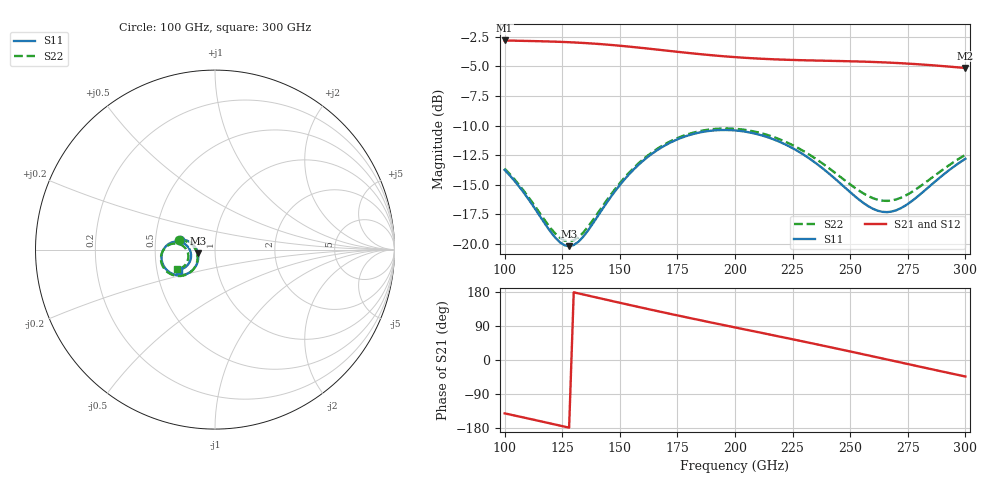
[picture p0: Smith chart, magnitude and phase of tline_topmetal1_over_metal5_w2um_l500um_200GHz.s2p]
#  GHZ S DB R 50
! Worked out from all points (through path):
!   101 points, 100 GHz to 300 GHz, reference 50 ohm
!   highest |S21| = -2.80 dB at 100 GHz (marker M1); lowest = -5.1 dB at 300 GHz (marker M2)
!   group delay of S21, straight-line fit = 3.62 ps
!   lowest |S11| = -20.2 dB at 128 GHz (marker M3), VSWR 1.22, Z = 41.3 - j1.76 ohm
!   |S11| at or under -10 dB: start of sweep to end of sweep
!   |S22| runs from -19.8 to -10.2 dB; largest |S21 - S12| = 9.9e-14
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100  -13.75 164.2  -2.80 -140.8  -2.80 -140.8  -13.64 165.8
114  -17.27 164.5  -2.86 -159.5  -2.86 -159.5  -17.06 166.5
122  -19.49 176.3  -2.90 -170.4  -2.90 -170.4  -19.14 178.1
128  -20.21 -167.5  -2.95 -178.6  -2.95 -178.6  -19.80 -166.5
134  -19.43 -151.4  -3.01 173.1  -3.01 173.1  -19.08 -151.3
142  -17.20 -139.8  -3.11 162.0  -3.11 162.0  -16.97 -139.9
150  -15.03 -137.5  -3.24 151.0  -3.24 151.0  -14.87 -137.4
158  -13.34 -140.0  -3.40 140.2  -3.40 140.2  -13.22 -139.6
168  -11.86 -146.2  -3.61 126.8  -3.61 126.8  -11.75 -145.4
176  -11.09 -152.2  -3.78 116.4  -3.78 116.4  -10.98 -151.2
184  -10.61 -158.6  -3.94 106.1  -3.94 106.1  -10.50 -157.3
192  -10.40 -165.0  -4.08 96.0  -4.08 96.0  -10.27 -163.5
200  -10.41 -171.3  -4.21 86.0  -4.21 86.0  -10.27 -169.5
216  -11.11 177.2  -4.39 66.0  -4.39 66.0  -10.92 179.6
234  -13.02 168.5  -4.49 43.3  -4.49 43.3  -12.68 171.7
244  -14.60 168.0  -4.53 30.3  -4.53 30.3  -14.08 171.4
252  -15.97 171.9  -4.57 19.9  -4.57 19.9  -15.26 175.0
260  -17.05 -179.3  -4.62 9.3  -4.62 9.3  -16.16 -177.3
268  -17.28 -167.2  -4.68 -1.3  -4.68 -1.3  -16.34 -167.2
274  -16.77 -158.9  -4.75 -9.3  -4.75 -9.3  -15.93 -160.1
284  -15.22 -150.8  -4.87 -22.6  -4.87 -22.6  -14.63 -152.9
300  -12.81 -150.7  -5.13 -43.6  -5.13 -43.6  -12.48 -152.4
